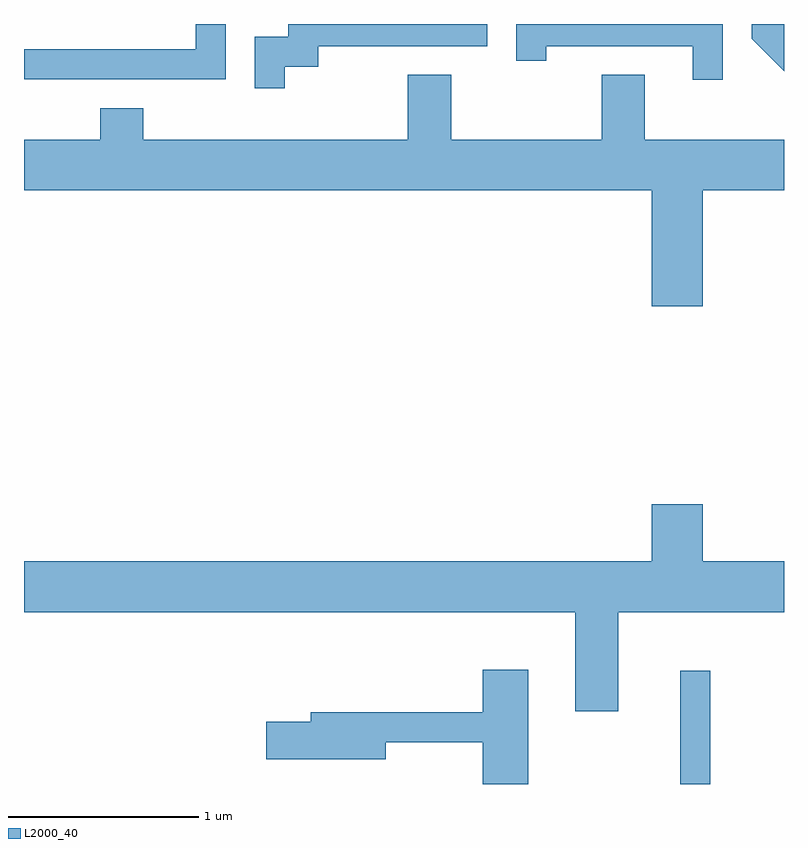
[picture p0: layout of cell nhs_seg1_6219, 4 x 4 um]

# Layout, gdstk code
import gdstk
lib = gdstk.Library(unit=1e-6, precision=1e-09)
def R(c, l, rs):  # rectangles x0, y0, x1, y1
    for r in rs: c.add(gdstk.rectangle(r[:2], r[2:], *l))
def P(c, l, *ps):  # polygons
    for p in ps: c.add(gdstk.Polygon(p, *l))
L2000_40 = (2000, 40)

nhs_seg1_6219 = lib.new_cell('nhs_seg1_6219')
R(nhs_seg1_6219, L2000_40, [(375.066,969.712,375.224,970.308)])
P(nhs_seg1_6219, L2000_40, [(375.289,973.712),(374.201,973.712),(374.201,973.518),(374.359,973.518),(374.359,973.596),(375.131,973.596),(375.131,973.418),(375.289,973.418)],
  [(372.674,973.712),(372.516,973.712),(372.516,973.579),(371.611,973.579),(371.611,973.421),(372.674,973.421)],
  [(372.984,973.486),(373.159,973.486),(373.159,973.596),(374.049,973.596),(374.049,973.712),(373.001,973.712),(373.001,973.644),(372.826,973.644),(372.826,973.373),(372.984,973.373)],
  [(375.611,973.712),(375.441,973.712),(375.441,973.634),(375.611,973.464)],
  [(375.184,972.836),(375.611,972.836),(375.611,973.104),(374.879,973.104),(374.879,973.444),(374.651,973.444),(374.651,973.104),(373.859,973.104),(373.859,973.444),(373.631,973.444),(373.631,973.104),(372.239,973.104),(372.239,973.269),(372.011,973.269),(372.011,973.104),(371.611,973.104),(371.611,972.836),(374.916,972.836),(374.916,972.226),(375.184,972.226)],
  [(374.739,970.616),(375.611,970.616),(375.611,970.884),(375.184,970.884),(375.184,971.184),(374.916,971.184),(374.916,970.884),(371.611,970.884),(371.611,970.616),(374.511,970.616),(374.511,970.096),(374.739,970.096)],
  [(374.264,970.314),(374.026,970.314),(374.026,970.089),(373.121,970.089),(373.121,970.039),(372.886,970.039),(372.886,969.841),(373.514,969.841),(373.514,969.931),(374.026,969.931),(374.026,969.712),(374.264,969.712)])

lib.write_gds('nhs_seg1_6219.gds')
